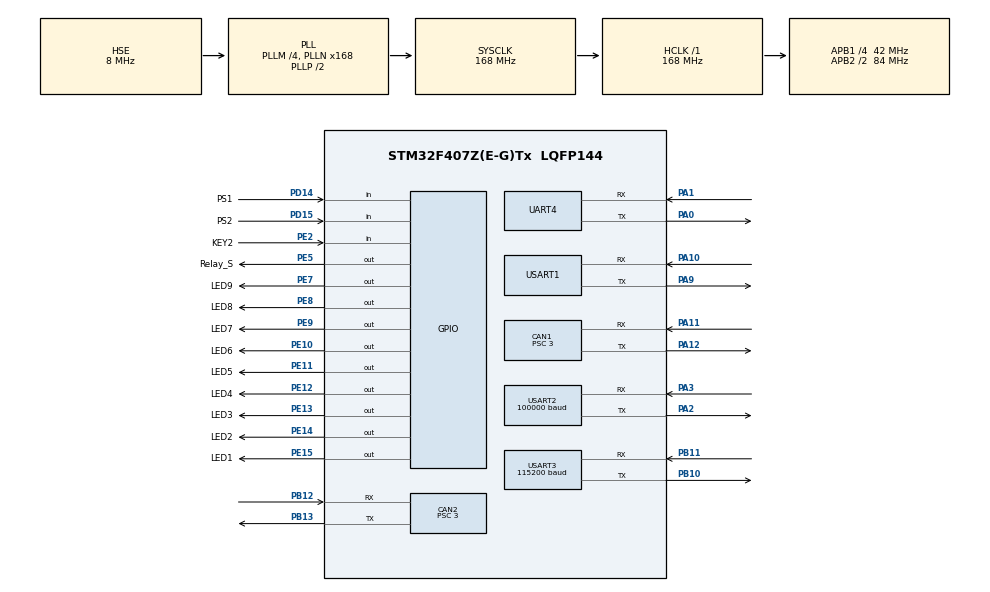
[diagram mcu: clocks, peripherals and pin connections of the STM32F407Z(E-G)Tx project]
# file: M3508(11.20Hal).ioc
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CAN1.ABOM=ENABLE
CAN1.BS1=CAN_BS1_9TQ
CAN1.BS2=CAN_BS2_4TQ
CAN1.CalculateTimeQuantum=71.42857142857143
CAN1.Prescaler=3
CAN2.ABOM=ENABLE
CAN2.BS1=CAN_BS1_9TQ
CAN2.BS2=CAN_BS2_4TQ
CAN2.CalculateTimeQuantum=71.42857142857143
CAN2.Prescaler=3
Dma.Request0=USART2_RX
Dma.Request1=USART3_RX
Dma.Request2=USART3_TX
Dma.Request3=USART1_RX
Dma.Request4=UART4_RX
Dma.Request5=UART4_TX
Dma.UART4_RX.4.Direction=DMA_PERIPH_TO_MEMORY
Dma.UART4_RX.4.FIFOMode=DMA_FIFOMODE_DISABLE
Dma.UART4_RX.4.Instance=DMA1_Stream2
Dma.UART4_RX.4.MemDataAlignment=DMA_MDATAALIGN_BYTE
Dma.UART4_RX.4.MemInc=DMA_MINC_ENABLE
Dma.UART4_RX.4.Mode=DMA_NORMAL
Dma.UART4_RX.4.PeriphDataAlignment=DMA_PDATAALIGN_BYTE
Dma.UART4_RX.4.PeriphInc=DMA_PINC_DISABLE
Dma.UART4_RX.4.Priority=DMA_PRIORITY_LOW
Dma.UART4_TX.5.Direction=DMA_MEMORY_TO_PERIPH
Dma.UART4_TX.5.FIFOMode=DMA_FIFOMODE_DISABLE
Dma.UART4_TX.5.Instance=DMA1_Stream4
Dma.UART4_TX.5.MemDataAlignment=DMA_MDATAALIGN_BYTE
Dma.UART4_TX.5.MemInc=DMA_MINC_ENABLE
Dma.UART4_TX.5.Mode=DMA_NORMAL
Dma.UART4_TX.5.PeriphDataAlignment=DMA_PDATAALIGN_BYTE
Dma.UART4_TX.5.PeriphInc=DMA_PINC_DISABLE
Dma.UART4_TX.5.Priority=DMA_PRIORITY_LOW
Dma.USART1_RX.3.Direction=DMA_PERIPH_TO_MEMORY
Dma.USART1_RX.3.FIFOMode=DMA_FIFOMODE_DISABLE
Dma.USART1_RX.3.Instance=DMA2_Stream2
Dma.USART1_RX.3.MemDataAlignment=DMA_MDATAALIGN_BYTE
Dma.USART1_RX.3.MemInc=DMA_MINC_ENABLE
Dma.USART1_RX.3.Mode=DMA_NORMAL
Dma.USART1_RX.3.PeriphDataAlignment=DMA_PDATAALIGN_BYTE
Dma.USART1_RX.3.PeriphInc=DMA_PINC_DISABLE
Dma.USART1_RX.3.Priority=DMA_PRIORITY_LOW
Dma.USART2_RX.0.Direction=DMA_PERIPH_TO_MEMORY
Dma.USART2_RX.0.FIFOMode=DMA_FIFOMODE_DISABLE
Dma.USART2_RX.0.Instance=DMA1_Stream5
Dma.USART2_RX.0.MemDataAlignment=DMA_MDATAALIGN_BYTE
Dma.USART2_RX.0.MemInc=DMA_MINC_ENABLE
Dma.USART2_RX.0.Mode=DMA_NORMAL
Dma.USART2_RX.0.PeriphDataAlignment=DMA_PDATAALIGN_BYTE
Dma.USART2_RX.0.PeriphInc=DMA_PINC_DISABLE
Dma.USART2_RX.0.Priority=DMA_PRIORITY_LOW
Dma.USART3_RX.1.Direction=DMA_PERIPH_TO_MEMORY
Dma.USART3_RX.1.FIFOMode=DMA_FIFOMODE_DISABLE
Dma.USART3_RX.1.Instance=DMA1_Stream1
Dma.USART3_RX.1.MemDataAlignment=DMA_MDATAALIGN_BYTE
Dma.USART3_RX.1.MemInc=DMA_MINC_ENABLE
Dma.USART3_RX.1.Mode=DMA_NORMAL
Dma.USART3_RX.1.PeriphDataAlignment=DMA_PDATAALIGN_BYTE
Dma.USART3_RX.1.PeriphInc=DMA_PINC_DISABLE
Dma.USART3_RX.1.Priority=DMA_PRIORITY_HIGH
Dma.USART3_TX.2.Direction=DMA_MEMORY_TO_PERIPH
Dma.USART3_TX.2.FIFOMode=DMA_FIFOMODE_DISABLE
Dma.USART3_TX.2.Instance=DMA1_Stream3
Dma.USART3_TX.2.MemDataAlignment=DMA_MDATAALIGN_BYTE
Dma.USART3_TX.2.MemInc=DMA_MINC_ENABLE
Dma.USART3_TX.2.Mode=DMA_NORMAL
Dma.USART3_TX.2.PeriphDataAlignment=DMA_PDATAALIGN_BYTE
Dma.USART3_TX.2.PeriphInc=DMA_PINC_DISABLE
Dma.USART3_TX.2.Priority=DMA_PRIORITY_HIGH
Mcu.Family=STM32F4
Mcu.Name=STM32F407Z(E-G)Tx
Mcu.Package=LQFP144
NVIC.CAN1_RX0_IRQn=true\:0\:0\:false\:false\:true\:true\:true
NVIC.CAN1_TX_IRQn=true\:0\:0\:false\:false\:true\:true\:true
NVIC.CAN2_RX0_IRQn=true\:0\:0\:false\:false\:true\:true\:true
NVIC.CAN2_TX_IRQn=true\:0\:0\:false\:false\:true\:true\:true
NVIC.DMA1_Stream1_IRQn=true\:1\:0\:true\:false\:true\:false\:true
NVIC.DMA1_Stream2_IRQn=true\:0\:0\:false\:false\:true\:false\:true
NVIC.DMA1_Stream3_IRQn=true\:1\:0\:true\:false\:true\:false\:true
NVIC.DMA1_Stream4_IRQn=true\:0\:0\:false\:false\:true\:false\:true
NVIC.DMA1_Stream5_IRQn=true\:0\:0\:false\:false\:true\:false\:true
NVIC.DMA2_Stream2_IRQn=true\:2\:0\:true\:false\:true\:false\:true
NVIC.PriorityGroup=NVIC_PRIORITYGROUP_4
NVIC.TIM3_IRQn=true\:2\:0\:true\:false\:true\:true\:true
NVIC.TIM5_IRQn=true\:0\:0\:false\:false\:true\:true\:true
NVIC.TIM6_DAC_IRQn=true\:0\:0\:false\:false\:true\:false\:true
NVIC.TIM7_IRQn=true\:5\:0\:true\:false\:true\:true\:true
NVIC.TimeBase=TIM6_DAC_IRQn
NVIC.TimeBaseIP=TIM6
NVIC.UART4_IRQn=true\:0\:0\:false\:false\:true\:true\:true
NVIC.USART1_IRQn=true\:2\:0\:true\:false\:true\:true\:true
NVIC.USART2_IRQn=true\:0\:0\:true\:false\:true\:true\:true
NVIC.USART3_IRQn=true\:1\:0\:true\:false\:true\:true\:true
PA0-WKUP.GPIO_Speed=GPIO_SPEED_FREQ_HIGH
PA0-WKUP.Mode=Asynchronous
PA0-WKUP.Signal=UART4_TX
PA1.GPIO_Speed=GPIO_SPEED_FREQ_HIGH
PA1.Mode=Asynchronous
PA1.Signal=UART4_RX
PA10.Mode=Asynchronous
PA10.Signal=USART1_RX
PA11.Mode=Master
PA11.Signal=CAN1_RX
PA12.Mode=Master
PA12.Signal=CAN1_TX
PA13.Mode=Serial_Wire
PA13.Signal=SYS_JTMS-SWDIO
PA14.Mode=Serial_Wire
PA14.Signal=SYS_JTCK-SWCLK
PA2.Mode=Asynchronous
PA2.Signal=USART2_TX
PA3.Mode=Asynchronous
PA3.Signal=USART2_RX
PA9.Mode=Asynchronous
PA9.Signal=USART1_TX
PB10.Mode=Asynchronous
PB10.Signal=USART3_TX
PB11.Mode=Asynchronous
PB11.Signal=USART3_RX
PB12.Mode=Slave
PB12.Signal=CAN2_RX
PB13.Mode=Slave
PB13.Signal=CAN2_TX
PD14.GPIO_Label=PS1
PD14.GPIO_PuPd=GPIO_PULLUP
PD14.Signal=GPIO_Input
PD15.GPIO_Label=PS2
PD15.GPIO_PuPd=GPIO_PULLUP
PD15.Signal=GPIO_Input
PE10.GPIO_Label=LED6
PE10.PinState=GPIO_PIN_SET
PE10.Signal=GPIO_Output
PE11.GPIO_Label=LED5
PE11.PinState=GPIO_PIN_SET
PE11.Signal=GPIO_Output
PE12.GPIO_Label=LED4
PE12.PinState=GPIO_PIN_SET
PE12.Signal=GPIO_Output
PE13.GPIO_Label=LED3
PE13.PinState=GPIO_PIN_SET
PE13.Signal=GPIO_Output
PE14.GPIO_Label=LED2
PE14.PinState=GPIO_PIN_SET
PE14.Signal=GPIO_Output
PE15.GPIO_Label=LED1
PE15.PinState=GPIO_PIN_SET
PE15.Signal=GPIO_Output
PE2.GPIO_Label=KEY2
PE2.Signal=GPIO_Input
PE5.GPIO_Label=Relay_S
PE5.GPIO_PuPd=GPIO_PULLDOWN
PE5.Signal=GPIO_Output
PE7.GPIO_Label=LED9
PE7.PinState=GPIO_PIN_SET
PE7.Signal=GPIO_Output
PE8.GPIO_Label=LED8
PE8.PinState=GPIO_PIN_SET
PE8.Signal=GPIO_Output
PE9.GPIO_Label=LED7
PE9.PinState=GPIO_PIN_SET
PE9.Signal=GPIO_Output
PH0-OSC_IN.Mode=HSE-External-Oscillator
PH0-OSC_IN.Signal=RCC_OSC_IN
PH1-OSC_OUT.Mode=HSE-External-Oscillator
PH1-OSC_OUT.Signal=RCC_OSC_OUT
ProjectManager.HeapSize=0x200
ProjectManager.StackSize=0x400
ProjectManager.TargetToolchain=MDK-ARM V5
RCC.48MHZClocksFreq_Value=84000000
RCC.AHBFreq_Value=168000000
RCC.APB1CLKDivider=RCC_HCLK_DIV4
RCC.APB1Freq_Value=42000000
RCC.APB1TimFreq_Value=84000000
RCC.APB2CLKDivider=RCC_HCLK_DIV2
RCC.APB2Freq_Value=84000000
RCC.APB2TimFreq_Value=168000000
RCC.CortexFreq_Value=168000000
RCC.HCLKFreq_Value=168000000
RCC.HSE_VALUE=8000000
RCC.HSI_VALUE=16000000
RCC.LSE_VALUE=32768
RCC.PLLM=4
RCC.PLLN=168
RCC.PLLSourceVirtual=RCC_PLLSOURCE_HSE
RCC.SYSCLKFreq_VALUE=168000000
RCC.SYSCLKSource=RCC_SYSCLKSOURCE_PLLCLK
RCC.VCOOutputFreq_Value=336000000
TIM2.Period=0xffffffff
TIM2.Prescaler=65536-1
TIM3.Period=10000-1
TIM3.Prescaler=840-1
TIM5.Period=1000-1
TIM5.Prescaler=84-1
TIM7.Period=1000-1
TIM7.Prescaler=8400-1
UART4.VirtualMode=Asynchronous
USART1.VirtualMode=VM_ASYNC
USART2.BaudRate=100000
USART2.Parity=PARITY_EVEN
USART2.VirtualMode=VM_ASYNC
USART3.BaudRate=115200
USART3.VirtualMode=VM_ASYNC
VP_SYS_VS_tim6.Mode=TIM6
VP_TIM2_VS_ClockSourceINT.Mode=Internal
VP_TIM3_VS_ClockSourceINT.Mode=Internal
VP_TIM5_VS_ClockSourceINT.Mode=Internal
VP_TIM7_VS_ClockSourceINT.Mode=Enable_Timer
board=M3508(11.20Hal)

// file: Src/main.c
/* USER CODE BEGIN Header */
/**
  ******************************************************************************
  * @file           : main.c
  * @brief          : Main program body
  ******************************************************************************
  * @attention
  *
  * <h2><center>&copy; Copyright (c) 2019 STMicroelectronics.
  * All rights reserved.</center></h2>
  *
  * This software component is licensed by ST under BSD 3-Clause license,
  * the "License"; You may not use this file except in compliance with the
  * License. You may obtain a copy of the License at:
  *                        opensource.org/licenses/BSD-3-Clause
  *
  ******************************************************************************
  */
/* USER CODE END Header */

#include "main.h"
#include "can.h"
#include "dma.h"
#include "tim.h"
#include "usart.h"
#include "gpio.h"

/* USER CODE BEGIN Includes */
#include  "allheader.h"
/* USER CODE END Includes */

/* USER CODE BEGIN PV */
int TIM5_FLAG = 0;     //TIM5标志位，1ms 进入一次，运行所有电机控制
/* Private variables ---------------------------------------------------------*/

/* USER CODE END PV */

void SystemClock_Config(void);
/* USER CODE BEGIN PFP */
/* Private function prototypes -----------------------------------------------*/

/* USER CODE END PFP */

int main(void)
{

  /* MCU Configuration--------------------------------------------------------*/

  /* Reset of all peripherals, Initializes the Flash interface and the Systick. */
  HAL_Init();

  /* Configure the system clock */
  SystemClock_Config();

  /* Initialize all configured peripherals */
  MX_GPIO_Init();
  MX_DMA_Init();
  MX_CAN1_Init();
  MX_CAN2_Init();
  MX_USART1_UART_Init();
  MX_USART2_UART_Init();
  MX_USART3_UART_Init();
  MX_TIM2_Init();
  MX_TIM5_Init();
  MX_UART4_Init();
  MX_TIM7_Init();
  MX_TIM3_Init();
  /* USER CODE BEGIN 2 */
	setup();   //ROS节点初始化
	//Uart_Rx_Init();   //SCM555 电子罗盘
	HAL_CAN_Receive_IT(&hcan1, CAN_FIFO0);
	HAL_CAN_Receive_IT(&hcan2, CAN_FIFO0);
	HAL_UART_Receive_IT_IDLE(&huart2,UART_Buffer,100);   //启动串口接收
  /*开启串口空闲中断*/
	//__HAL_UART_ENABLE_IT(&huart4, UART_IT_IDLE);
	HAL_TIM_Base_Start_IT(&htim3);  //使能TIM3中断，溢出时间为100ms, 翻转为600ms
	HAL_TIM_Base_Start_IT(&htim5);  //使能TIM5中断，溢出时间为1ms
	HAL_TIM_Base_Start_IT(&htim7);  //使能TIM7中断，溢出时间为100ms,用于裁判系统界面交互
	moto_param_init();   //初始化电机pid参数
  /* USER CODE END 2 */

  /* Infinite loop */
  while (1)
  {

    /* USER CODE BEGIN 3 */
		remote_ros_switch();   //右侧拨杆控制是否使用ROS，包含ROS的回调订阅发布函数
		ros_control_loop();
		if( TIM5_FLAG == 1)  //1ms进入一次，运行电机的控制，在TIM5里复位标志位，降低电机控制函数的优先级
		 {
			remote_task();//输出电机需要的角度和速度信息
			pid_calc_all_motor();  //PID运算
			pid_control_output();
			TIM5_FLAG = 0;
		 }
  }
  /* USER CODE END 3 */
}

void SystemClock_Config(void)
{
  RCC_OscInitTypeDef RCC_OscInitStruct = {0};
  RCC_ClkInitTypeDef RCC_ClkInitStruct = {0};

  /** Configure the main internal regulator output voltage
  */
  __HAL_RCC_PWR_CLK_ENABLE();
  __HAL_PWR_VOLTAGESCALING_CONFIG(PWR_REGULATOR_VOLTAGE_SCALE1);
  /** Initializes the CPU, AHB and APB busses clocks
  */
  RCC_OscInitStruct.OscillatorType = RCC_OSCILLATORTYPE_HSE;
  RCC_OscInitStruct.HSEState = RCC_HSE_ON;
  RCC_OscInitStruct.PLL.PLLState = RCC_PLL_ON;
  RCC_OscInitStruct.PLL.PLLSource = RCC_PLLSOURCE_HSE;
  RCC_OscInitStruct.PLL.PLLM = 4;
  RCC_OscInitStruct.PLL.PLLN = 168;
  RCC_OscInitStruct.PLL.PLLP = RCC_PLLP_DIV2;
  RCC_OscInitStruct.PLL.PLLQ = 4;
  if (HAL_RCC_OscConfig(&RCC_OscInitStruct) != HAL_OK)
  {
    Error_Handler();
  }
  /** Initializes the CPU, AHB and APB busses clocks
  */
  RCC_ClkInitStruct.ClockType = RCC_CLOCKTYPE_HCLK|RCC_CLOCKTYPE_SYSCLK
                              |RCC_CLOCKTYPE_PCLK1|RCC_CLOCKTYPE_PCLK2;
  RCC_ClkInitStruct.SYSCLKSource = RCC_SYSCLKSOURCE_PLLCLK;
  RCC_ClkInitStruct.AHBCLKDivider = RCC_SYSCLK_DIV1;
  RCC_ClkInitStruct.APB1CLKDivider = RCC_HCLK_DIV4;
  RCC_ClkInitStruct.APB2CLKDivider = RCC_HCLK_DIV2;

  if (HAL_RCC_ClockConfig(&RCC_ClkInitStruct, FLASH_LATENCY_5) != HAL_OK)
  {
    Error_Handler();
  }
}

void HAL_TIM_PeriodElapsedCallback(TIM_HandleTypeDef *htim)
{
  /* USER CODE BEGIN Callback 0 */
	extern int a;
  /* USER CODE END Callback 0 */
  if (htim->Instance == TIM6) {
    HAL_IncTick();
  }
  /* USER CODE BEGIN Callback 1 */
	else if(htim->Instance == TIM5){
    TIM5_FLAG = 1;  //1ms 运行一次
  }
	else if(htim->Instance == TIM7){
    judge_send_display();
  }
	else if(htim->Instance == TIM3){
	 catching_time ++;    //夹取动作计时
	 stretch_time ++;     //伸缩动作计时
	 Relay_S_count_time ++ ; //继电器倒计时
	 lifting_embrace_giveballet_count_time ++; //抬升时间为10*100ms,开舱时间为50*100ms
   Z_count_time ++; //"Z" 按键消抖时间为10*100ms
	 X_count_time ++; //"X" 按键消抖时间为10*100ms
	 C_count_time ++; //"C" 按键消抖时间为10*100ms
	}

  /* USER CODE END Callback 1 */
}

void Error_Handler(void)
{
  while(1)
  {
  }
}

/************************ (C) COPYRIGHT STMicroelectronics *****END OF FILE****/
